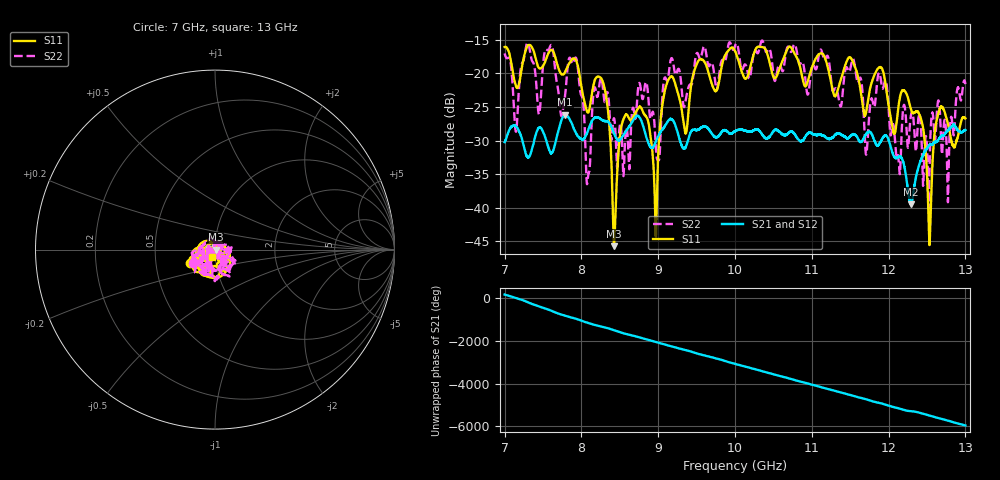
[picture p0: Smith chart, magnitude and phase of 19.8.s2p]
[Version] 2.0
! Rohde & Schwarz Vector Network Analyzer
! Rohde-Schwarz,ZNL20-2Port,1323001220200009,1.71.1.10-23.02.1.238
! Port Assignments:
! Nominal Port -> Actual Test Port
!  1 -> 1
!  2 -> 2
! Created: GMT+3 2024-09-24 16:07:49
# Hz S DB R 50
[Number of Ports] 2
[Two-Port Data Order] 21_12
! freq[Hz]  S11[mag dB]  S11[ang]  S21[mag dB]  S21[ang]  S12[mag dB]  S12[ang]  S22[mag dB]  S22[ang]
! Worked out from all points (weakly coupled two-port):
!   6001 points, 7 GHz to 13 GHz, reference 50 ohm
!   highest |S21| = -26.13 dB at 7.789 GHz (marker M1); lowest = -39.5 dB at 12.29 GHz (marker M2)
!   lowest |S11| = -45.7 dB at 8.424 GHz (marker M3), VSWR 1.01, Z = 50.5 + j0.0258 ohm
!   |S11| at or under -10 dB: start of sweep to end of sweep
!   |S22| runs from -40.1 to -15.1 dB; largest |S21 - S12| = 0.00087
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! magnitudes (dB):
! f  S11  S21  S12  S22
! 7 GHz  -16.1  -30.2  -30.2  -17.0
! 7.146 GHz  -21.9  -27.9  -27.9  -28.6
! 7.297 GHz  -15.9  -32.4  -32.4  -15.4
! 7.789 GHz  -19.8  -26.1  -26.2  -23.2
! 8 GHz  -22.0  -29.8  -29.8  -23.3
! 8.086 GHz  -25.9  -28.5  -28.5  -35.4
! 8.166 GHz  -21.3  -26.7  -26.6  -22.2
! 8.293 GHz  -21.8  -27.1  -27.1  -23.7
! 8.424 GHz  -45.7  -29.0  -28.9  -26.7
! 8.57 GHz  -26.3  -28.8  -28.8  -29.7
! 8.84 GHz  -26.4  -29.3  -29.3  -21.3
! 9 GHz  -32.1  -29.4  -29.4  -32.9
! 9.17 GHz  -20.4  -26.8  -26.8  -17.8
! 9.356 GHz  -28.9  -31.0  -31.0  -24.1
! 10 GHz  -16.7  -28.6  -28.7  -15.9
! 11 GHz  -19.2  -28.9  -28.9  -19.1
! 12 GHz  -24.8  -29.9  -29.9  -25.1
! 12.29 GHz  -25.3  -39.5  -39.6  -26.4
! 12.53 GHz  -45.2  -30.7  -30.6  -34.2
! 12.66 GHz  -25.5  -29.7  -29.7  -24.5
! 12.77 GHz  -27.6  -28.5  -28.5  -38.9
! 13 GHz  -26.7  -28.4  -28.4  -21.6
